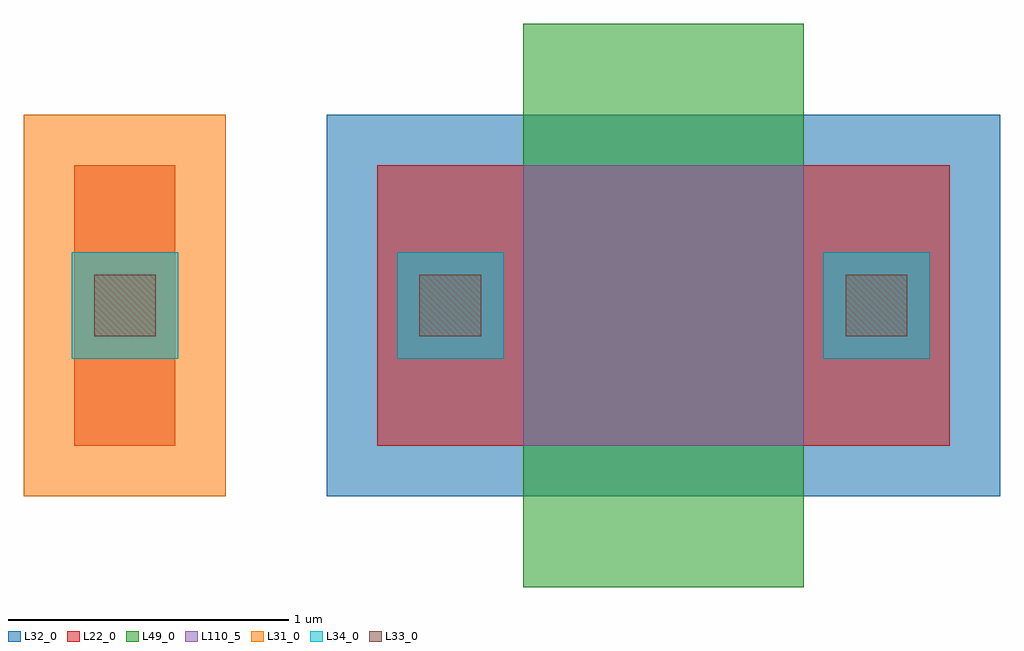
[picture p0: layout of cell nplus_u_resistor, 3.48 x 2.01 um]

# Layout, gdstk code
import gdstk
lib = gdstk.Library(unit=1e-6, precision=1e-09)
def R(c, l, rs):  # rectangles x0, y0, x1, y1
    for r in rs: c.add(gdstk.rectangle(r[:2], r[2:], *l))
L22_0 = (22, 0)
L31_0 = (31, 0)
L32_0 = (32, 0)
L33_0 = (33, 0)
L34_0 = (34, 0)
L49_0 = (49, 0)
L110_5 = (110, 5)

nplus_u_resistor = lib.new_cell('nplus_u_resistor')
R(nplus_u_resistor, L22_0, [(-1.6,0,-1.24,1), (-0.52,0,1.52,1)])
R(nplus_u_resistor, L31_0, [(-1.78,-0.18,-1.06,1.18)])
R(nplus_u_resistor, L32_0, [(-0.7,-0.18,1.7,1.18)])
R(nplus_u_resistor, L33_0, [(-1.53,0.39,-1.31,0.61), (-0.37,0.39,-0.15,0.61), (1.15,0.39,1.37,0.61)])
R(nplus_u_resistor, L34_0, [(-1.61,0.31,-1.23,0.69), (-0.45,0.31,-0.07,0.69), (1.07,0.31,1.45,0.69)])
R(nplus_u_resistor, L49_0, [(0,-0.505,1,1.505)])
R(nplus_u_resistor, L110_5, [(0,0,1,1)])

lib.write_gds('nplus_u_resistor.gds')
